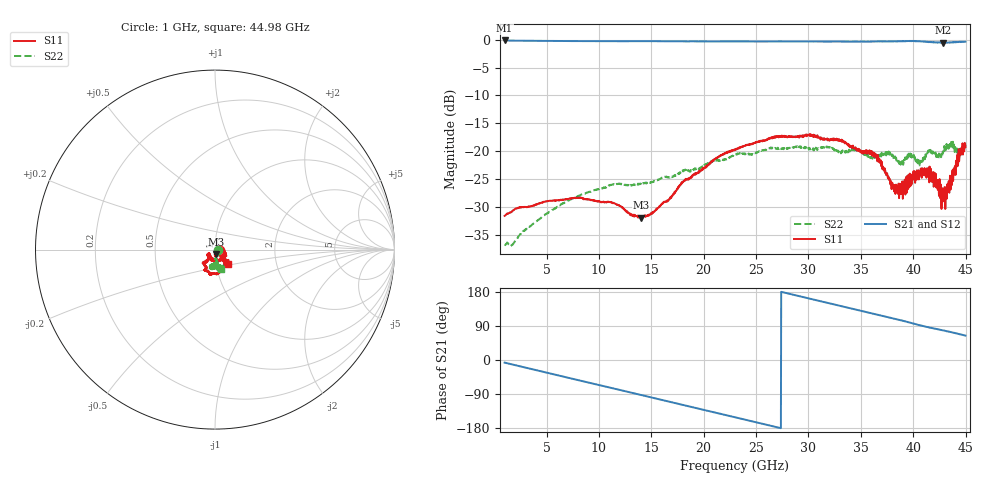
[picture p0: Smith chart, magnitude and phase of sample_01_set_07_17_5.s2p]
!Keysight Technologies,N5247B,MY61255062,A.19.80.06
!Date: Friday, March 13, 2026 17:13:35
!Correction: S11(C  2-Port  )
!S21(C  2-Port  )
!S12(C  2-Port  )
!S22(C  2-Port  )
!S2P File: Measurements: S11, S21, S12, S22:
# Hz S  dB  R 50
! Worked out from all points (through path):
!   1467 points, 1 GHz to 44.98 GHz, reference 50 ohm
!   highest |S21| = -0.16 dB at 1 GHz (marker M1); lowest = -0.6 dB at 42.85 GHz (marker M2)
!   group delay of S21, straight-line fit = 18.2 ps
!   lowest |S11| = -31.9 dB at 14.02 GHz (marker M3), VSWR 1.05, Z = 50.5 - j2.5 ohm
!   |S11| at or under -10 dB: start of sweep to end of sweep
!   |S22| runs from -37.0 to -18.3 dB; largest |S21 - S12| = 0.0078
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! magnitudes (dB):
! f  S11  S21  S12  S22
! 1 GHz  -31.6  -0.2  -0.2  -36.7
! 1.69 GHz  -30.8  -0.2  -0.2  -36.8
! 4.75 GHz  -29.1  -0.2  -0.2  -31.5
! 8.35 GHz  -28.3  -0.3  -0.3  -27.8
! 11.32 GHz  -29.3  -0.3  -0.3  -26.0
! 14.02 GHz  -31.9  -0.3  -0.3  -25.8
! 15.67 GHz  -30.1  -0.3  -0.3  -25.1
! 18.1 GHz  -25.4  -0.3  -0.3  -23.3
! 22.99 GHz  -19.6  -0.3  -0.3  -20.6
! 26.8 GHz  -17.6  -0.3  -0.3  -19.5
! 30.34 GHz  -17.2  -0.3  -0.3  -19.5
! 34.39 GHz  -19.5  -0.4  -0.4  -19.9
! 36.22 GHz  -20.6  -0.3  -0.3  -21.3
! 37.66 GHz  -24.8  -0.3  -0.3  -20.0
! 38.59 GHz  -25.8  -0.3  -0.3  -22.0
! 39.73 GHz  -26.2  -0.3  -0.3  -20.9
! 40.63 GHz  -24.4  -0.3  -0.3  -22.2
! 41.29 GHz  -24.3  -0.4  -0.4  -20.6
! 42.85 GHz  -27.8  -0.6  -0.5  -20.3
! 43.48 GHz  -26.1  -0.5  -0.5  -19.3
! 44.41 GHz  -21.2  -0.4  -0.4  -20.3
! 44.98 GHz  -19.2  -0.4  -0.4  -18.8
